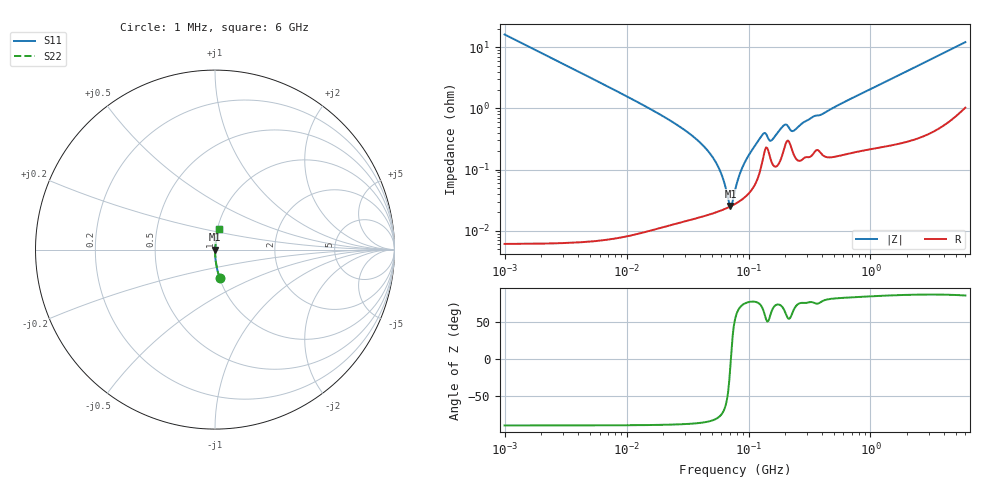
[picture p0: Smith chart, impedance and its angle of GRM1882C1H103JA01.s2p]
!Murata Part Number: GRM1882C1H103JA01
!These Parameters are Measured in Series Mode Connection
!Data Generated on Mar 30, 2021
!  o--ll--o
!Port1  Port2
!  o------o
!Operation Temp=25[degC], DC Bias Voltage=0[V]
!Freq. Start=1000[kHz] Stop=6[GHz] 401[Steps]
# Hz S RI R 50
!Freq.(Hz) S11(Real) S11(Imag) S21(Real) S21(Imag) S12(Real) S12(Imag) S22(Real) S22(Imag)
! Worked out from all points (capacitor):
!   401 points, 1 MHz to 6 GHz, reference 50 ohm
!   read as one part in series: C = 9.87 nF near 1.044 MHz
!   lowest |Z| = 25.4 mohm at 71.01 MHz (marker M1)
!   series resonance near 71.66 MHz, so ESL is about 500 pH
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1000000  0.0254 -0.1571  0.9746 0.1571  0.9746 0.1571  0.0254 -0.1571
4293785  0.00146 -0.0373  0.9985 0.0373  0.9985 0.0373  0.00146 -0.0373
1.843659e7  0.000176 -0.00813  0.9998 0.00813  0.9998 0.00813  0.000176 -0.00813
3.245342e7  0.000164 -0.00394  0.9998 0.00394  0.9998 0.00394  0.000164 -0.00394
4.697123e7  0.000187 -0.00196  0.9998 0.00196  0.9998 0.00196  0.000187 -0.00196
5.838291e7  0.000213 -0.000937  0.9998 0.000937  0.9998 0.000937  0.000213 -0.000937
6.23192e7  0.000223 -0.000638  0.9998 0.000638  0.9998 0.000638  0.000223 -0.000638
6.798347e7  0.00024 -0.000241  0.9998 0.000241  0.9998 0.000241  0.00024 -0.000241
7.100585e7  0.000251 -4.18e-05  0.9997 4.18e-05  0.9997 4.18e-05  0.000251 -4.18e-05
7.416259e7  0.000262 0.000159  0.9997 -0.000159  0.9997 -0.000159  0.000262 0.000159
7.745967e7  0.000275 0.000361  0.9997 -0.000361  0.9997 -0.000361  0.000275 0.000361
8.450008e7  0.000306 0.000776  0.9997 -0.000776  0.9997 -0.000776  0.000306 0.000776
9.218041e7  0.000349 0.00121  0.9997 -0.00121  0.9997 -0.00121  0.000349 0.00121
1.305463e8  0.00144 0.00346  0.9986 -0.00346  0.9986 -0.00346  0.00144 0.00346
1.363501e8  0.0021 0.00336  0.9979 -0.00336  0.9979 -0.00336  0.0021 0.00336
1.553559e8  0.0013 0.00274  0.9987 -0.00274  0.9987 -0.00274  0.0013 0.00274
1.973453e8  0.00233 0.00485  0.9977 -0.00485  0.9977 -0.00485  0.00233 0.00485
2.348496e8  0.00177 0.00393  0.9982 -0.00393  0.9982 -0.00393  0.00177 0.00393
3.325952e8  0.00177 0.00693  0.9982 -0.00693  0.9982 -0.00693  0.00177 0.00693
4.045054e8  0.00179 0.0079  0.9982 -0.0079  0.9982 -0.0079  0.00179 0.0079
1.428092e9  0.00329 0.029  0.9967 -0.029  0.9967 -0.029  0.00329 0.029
6e9  0.024 0.1163  0.976 -0.1163  0.976 -0.1163  0.024 0.1163
